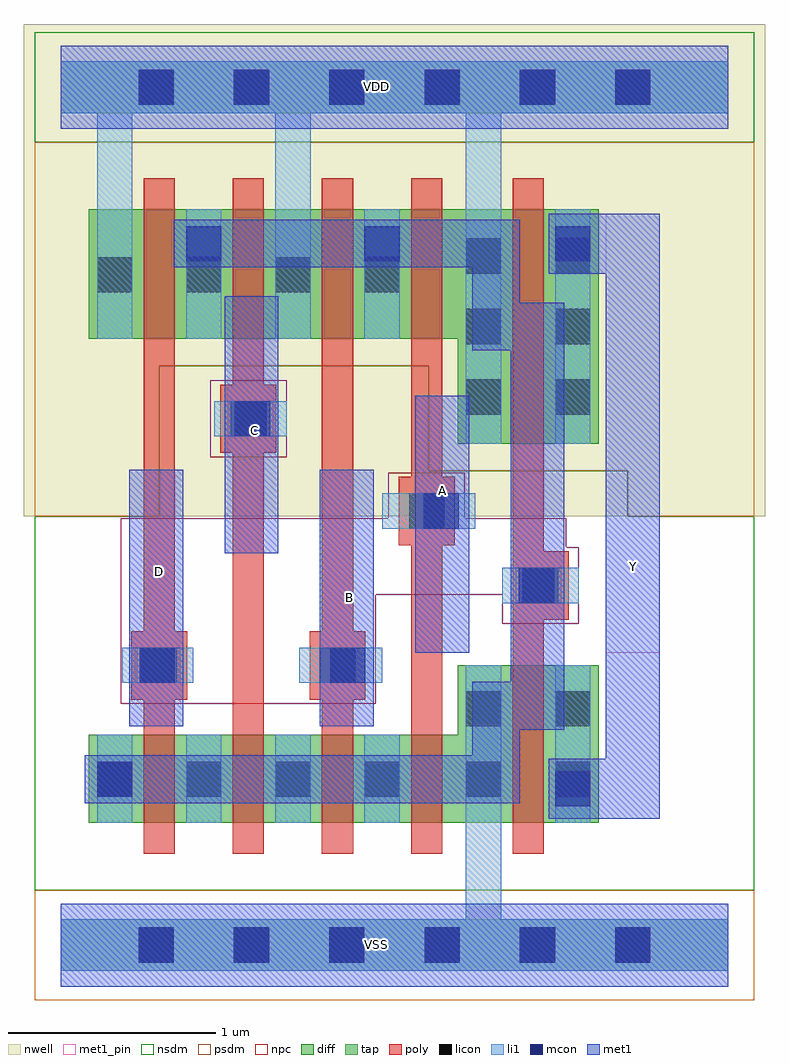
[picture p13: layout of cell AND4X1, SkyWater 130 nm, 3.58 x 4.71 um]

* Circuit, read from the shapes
.subckt AND4X1 A B C D VDD VSS Y
XM1 n1 D n2 VSS sky130_fd_pr__nfet_01v8 w=0.425 l=0.15
XM2 n3 C n1 VSS sky130_fd_pr__nfet_01v8 w=0.425 l=0.15
XM3 n4 B n3 VSS sky130_fd_pr__nfet_01v8 w=0.425 l=0.15
XM4 VSS A n4 VSS sky130_fd_pr__nfet_01v8 w=0.425 l=0.15
XM5 Y n2 VSS VSS sky130_fd_pr__nfet_01v8 w=0.76 l=0.15
XM6 n2 D VDD VDD sky130_fd_pr__pfet_01v8 w=0.625 l=0.15
XM7 VDD C n2 VDD sky130_fd_pr__pfet_01v8 w=0.625 l=0.15
XM8 n2 B VDD VDD sky130_fd_pr__pfet_01v8 w=0.625 l=0.15
XM9 VDD A n2 VDD sky130_fd_pr__pfet_01v8 w=0.625 l=0.15
XM10 Y n2 VDD VDD sky130_fd_pr__pfet_01v8 w=1.13 l=0.15
.ends

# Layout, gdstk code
from math import pi, radians
import gdstk
lib = gdstk.Library(unit=1e-6, precision=1e-09)
def R(c, l, rs):  # rectangles x0, y0, x1, y1
    for r in rs: c.add(gdstk.rectangle(r[:2], r[2:], *l))
def A(c, l, x, y, w, h, nx, ny, dx, dy):  # array of equal rectangles
    R(c, l, [(x+i*dx, y+j*dy, x+i*dx+w, y+j*dy+h) for i in range(nx) for j in range(ny)])
def P(c, l, *ps):  # polygons
    for p in ps: c.add(gdstk.Polygon(p, *l))
nwell = (64, 20)
diff = (65, 20)
tap = (65, 44)
poly = (66, 20)
licon = (66, 44)
li1 = (67, 20)
mcon = (67, 44)
met1_pin = (68, 16)
met1 = (68, 20)
nsdm = (93, 44)
psdm = (94, 20)
npc = (95, 20)

pyl1con_c_cdns_751554744 = lib.new_cell('PYL1CON_C_CDNS_751554744751')
R(pyl1con_c_cdns_751554744, poly, [(-0.135,-0.165,0.135,0.165)])
R(pyl1con_c_cdns_751554744, licon, [(-0.085,-0.085,0.085,0.085)])
R(pyl1con_c_cdns_751554744, npc, [(-0.185,-0.185,0.185,0.185)])

l1m1_c_cdns_751554744750 = lib.new_cell('L1M1_C_CDNS_751554744750$$17')
R(l1m1_c_cdns_751554744750, li1, [(-0.165,-0.085,0.165,0.085)])
R(l1m1_c_cdns_751554744750, mcon, [(-0.085,-0.085,0.085,0.085)])
R(l1m1_c_cdns_751554744750, met1, [(-0.085,-0.145,0.085,0.145)])

c_l1m1_c_cdns_751554744750 = lib.new_cell('L1M1_C_CDNS_751554744750$$18')
R(c_l1m1_c_cdns_751554744750, li1, [(-0.165,-0.085,0.165,0.085)])
R(c_l1m1_c_cdns_751554744750, mcon, [(-0.085,-0.085,0.085,0.085)])
R(c_l1m1_c_cdns_751554744750, met1, [(-0.085,-0.115,0.085,0.115)])

c_l1m1_c_cdns_751554744750_ = lib.new_cell('L1M1_C_CDNS_751554744750$$13')
R(c_l1m1_c_cdns_751554744750_, li1, [(-0.085,-0.165,0.085,0.165)])
R(c_l1m1_c_cdns_751554744750_, mcon, [(-0.085,-0.085,0.085,0.085)])
R(c_l1m1_c_cdns_751554744750_, met1, [(-0.145,-0.115,0.145,0.115)])

c_l1m1_c_cdns_751554744750__ = lib.new_cell('L1M1_C_CDNS_751554744750$$8')
R(c_l1m1_c_cdns_751554744750__, li1, [(-0.085,-0.165,0.085,0.165)])
R(c_l1m1_c_cdns_751554744750__, mcon, [(-0.085,-0.085,0.085,0.085)])
R(c_l1m1_c_cdns_751554744750__, met1, [(-0.115,-0.145,0.115,0.145)])

c_l1m1_c_cdns_751554744750___ = lib.new_cell('L1M1_C_CDNS_751554744750$$9')
R(c_l1m1_c_cdns_751554744750___, li1, [(-0.165,-0.085,0.165,0.085)])
R(c_l1m1_c_cdns_751554744750___, mcon, [(-0.085,-0.085,0.085,0.085)])
R(c_l1m1_c_cdns_751554744750___, met1, [(-0.115,-0.145,0.115,0.145)])

and4x1 = lib.new_cell('AND4X1')
R(and4x1, nwell, [(-0.18,2.07,3.4,4.445)])
P(and4x1, diff, [(2.595,1.35),(1.915,1.35),(1.915,1.015),(0.135,1.015),(0.135,0.59),(2.595,0.59)],
  [(2.595,3.55),(0.135,3.55),(0.135,2.925),(1.915,2.925),(1.915,2.42),(2.595,2.42)])
A(and4x1, poly, 0.4, 0.44, 0.15, 3.26, 4, 1, 0.43, 0)
R(and4x1, poly, [(2.18,0.44,2.33,3.7)])
A(and4x1, licon, 0.375, -0.085, 0.17, 0.17, 6, 2, 0.46, 4.14)
A(and4x1, licon, 1.955, 2.56, 0.17, 0.17, 1, 3, 0, 0.34)
A(and4x1, licon, 2.385, 2.56, 0.17, 0.17, 1, 3, 0, 0.34)
A(and4x1, licon, 0.175, 3.15, 0.17, 0.17, 4, 1, 0.43, 0)
R(and4x1, licon, [(0.175,0.715,0.345,0.885), (1.955,0.715,2.125,0.885), (2.385,0.715,2.555,0.885), (1.955,1.055,2.125,1.225), (2.385,1.055,2.555,1.225)])
R(and4x1, li1, [(0.175,0.59,0.345,1.015), (2.385,0.59,2.555,1.35), (2.385,2.42,2.555,3.55), (0.605,2.925,0.775,3.55), (1.465,2.925,1.635,3.55)])
P(and4x1, li1, [(3.22,4.265),(0,4.265),(0,4.015),(0.175,4.015),(0.175,2.925),(0.345,2.925),(0.345,4.015),(1.035,4.015),(1.035,2.925),(1.205,2.925),(1.205,4.015),(1.955,4.015),(1.955,2.42),(2.125,2.42),(2.125,4.015),(3.22,4.015)],
  [(3.22,0.125),(2.125,0.125),(2.125,1.35),(1.955,1.35),(1.955,0.125),(0,0.125),(0,-0.125),(3.22,-0.125)])
A(and4x1, mcon, 0.375, -0.085, 0.17, 0.17, 6, 2, 0.46, 4.14)
R(and4x1, met1_pin, [(0.33,1.055,0.59,2.295), (1.25,1.055,1.51,2.295), (1.71,1.41,1.97,2.65), (2.63,1.41,2.89,3.53), (0.79,1.89,1.05,3.13)])
P(and4x1, met1, [(2.89,3.53),(2.355,3.53),(2.355,3.24),(2.63,3.24),(2.63,0.9),(2.355,0.9),(2.355,0.61),(2.89,0.61)],
  [(2.43,3.1),(2.215,3.1),(2.215,3.5),(0.835,3.5),(0.835,3.27),(1.985,3.27),(1.985,2.87),(2.17,2.87),(2.17,1.27),(1.985,1.27),(1.985,0.915),(0.25,0.915),(0.25,0.685),(2.215,0.685),(2.215,1.04),(2.43,1.04)])
R(and4x1, nsdm, [(-0.125,3.875,3.345,4.405)])
P(and4x1, nsdm, [(3.345,2.07),(2.735,2.07),(2.735,2.29),(1.775,2.29),(1.775,2.795),(0.475,2.795),(0.475,2.07),(-0.125,2.07),(-0.125,0.265),(3.345,0.265)])
R(and4x1, psdm, [(-0.125,-0.265,3.345,0.265)])
P(and4x1, psdm, [(3.345,3.875),(-0.125,3.875),(-0.125,2.07),(0.475,2.07),(0.475,2.795),(1.775,2.795),(1.775,2.29),(2.735,2.29),(2.735,2.07),(3.345,2.07)])
P(and4x1, npc, [(2.44,2.06),(0.29,2.06),(0.29,1.165),(1.52,1.165),(1.52,1.69),(2.44,1.69)])
and4x1.add(gdstk.FlexPath([(1.12,0.59),(1.12,1.015)], 0.17, ends="flush", simple_path=True, layer=67, datatype=20))  # li1
and4x1.add(gdstk.FlexPath([(0.64,1.35),(0.295,1.35)], 0.17, ends="flush", simple_path=True, layer=67, datatype=20))  # li1
and4x1.add(gdstk.FlexPath([(1.55,2.095),(1.93,2.095)], 0.17, ends="flush", simple_path=True, layer=67, datatype=20))  # li1
and4x1.add(gdstk.FlexPath([(1.55,0.59),(1.55,1.015)], 0.17, ends="flush", simple_path=True, layer=67, datatype=20))  # li1
and4x1.add(gdstk.FlexPath([(0.69,0.59),(0.69,1.015)], 0.17, ends="flush", simple_path=True, layer=67, datatype=20))  # li1
and4x1.add(gdstk.FlexPath([(1.15,1.35),(1.55,1.35)], 0.17, ends="flush", simple_path=True, layer=67, datatype=20))  # li1
and4x1.add(gdstk.FlexPath([(2.265,1.735),(2.5,1.735)], 0.17, ends="flush", simple_path=True, layer=67, datatype=20))  # li1
and4x1.add(gdstk.FlexPath([(1.085,2.54),(0.74,2.54)], 0.17, ends="flush", simple_path=True, layer=67, datatype=20))  # li1
and4x1.add(gdstk.FlexPath([(1.035,0.8),(1.205,0.8)], 0.17, ends="flush", simple_path=True, layer=66, datatype=44))  # licon
and4x1.add(gdstk.FlexPath([(1.465,0.8),(1.635,0.8)], 0.17, ends="flush", simple_path=True, layer=66, datatype=44))  # licon
and4x1.add(gdstk.FlexPath([(0.605,0.8),(0.775,0.8)], 0.17, ends="flush", simple_path=True, layer=66, datatype=44))  # licon
and4x1.add(gdstk.FlexPath([(0,4.14),(3.22,4.14)], 0.4, ends="flush", simple_path=True, layer=68, datatype=16))  # met1_pin
and4x1.add(gdstk.FlexPath([(0,0),(3.22,0)], 0.4, ends="flush", simple_path=True, layer=68, datatype=16))  # met1_pin
and4x1.add(gdstk.FlexPath([(0,4.14),(3.22,4.14)], 0.25, ends="flush", simple_path=True, layer=65, datatype=44))  # tap
and4x1.add(gdstk.FlexPath([(0,0),(3.22,0)], 0.25, ends="flush", simple_path=True, layer=65, datatype=44))  # tap
and4x1.add(gdstk.FlexPath([(0,0),(3.22,0)], 0.4, ends="flush", simple_path=True, layer=68, datatype=20))  # met1
and4x1.add(gdstk.FlexPath([(0.46,1.055),(0.46,2.295)], 0.26, ends="flush", simple_path=True, layer=68, datatype=20))  # met1
and4x1.add(gdstk.FlexPath([(1.38,1.055),(1.38,2.295)], 0.26, ends="flush", simple_path=True, layer=68, datatype=20))  # met1
and4x1.add(gdstk.FlexPath([(0.92,1.89),(0.92,3.13)], 0.26, ends="flush", simple_path=True, layer=68, datatype=20))  # met1
and4x1.add(gdstk.FlexPath([(1.84,1.41),(1.84,2.65)], 0.26, ends="flush", simple_path=True, layer=68, datatype=20))  # met1
and4x1.add(gdstk.FlexPath([(0,4.14),(3.22,4.14)], 0.4, ends="flush", simple_path=True, layer=68, datatype=20))  # met1
and4x1.add(gdstk.Reference(pyl1con_c_cdns_751554744, (1.765,2.095)))
and4x1.add(gdstk.Reference(pyl1con_c_cdns_751554744, (1.335,1.35)))
and4x1.add(gdstk.Reference(pyl1con_c_cdns_751554744, (0.905,2.54)))
and4x1.add(gdstk.Reference(pyl1con_c_cdns_751554744, (0.475,1.35)))
and4x1.add(gdstk.Reference(pyl1con_c_cdns_751554744, (2.315,1.735)))
and4x1.add(gdstk.Reference(l1m1_c_cdns_751554744750, (1.835,2.095), x_reflection=True))
and4x1.add(gdstk.Reference(c_l1m1_c_cdns_751554744750, (2.295,1.735)))
and4x1.add(gdstk.Reference(c_l1m1_c_cdns_751554744750_, (0.69,3.385)))
and4x1.add(gdstk.Reference(c_l1m1_c_cdns_751554744750_, (1.55,3.385), rotation=pi))
and4x1.add(gdstk.Reference(c_l1m1_c_cdns_751554744750_, (0.26,0.8)))
and4x1.add(gdstk.Reference(c_l1m1_c_cdns_751554744750__, (2.47,0.755)))
and4x1.add(gdstk.Reference(c_l1m1_c_cdns_751554744750__, (2.47,3.385)))
and4x1.add(gdstk.Reference(c_l1m1_c_cdns_751554744750___, (1.385,1.35), x_reflection=True))
and4x1.add(gdstk.Reference(c_l1m1_c_cdns_751554744750___, (0.465,1.35), x_reflection=True))
and4x1.add(gdstk.Reference(c_l1m1_c_cdns_751554744750___, (0.925,2.54), x_reflection=True))
and4x1.add(gdstk.Label('C', (0.935,2.485), layer=68, texttype=5))
and4x1.add(gdstk.Label('VSS', (1.525,0.005), layer=68, texttype=5))
and4x1.add(gdstk.Label('A', (1.84,2.195), layer=68, texttype=5))
and4x1.add(gdstk.Label('D', (0.475,1.805), layer=68, texttype=5))
and4x1.add(gdstk.Label('B', (1.395,1.675), layer=68, texttype=5))
and4x1.add(gdstk.Label('Y', (2.765,1.825), layer=68, texttype=5))
and4x1.add(gdstk.Label('VDD', (1.525,4.145), layer=68, texttype=5))

lib.write_gds('AND4X1.gds')
